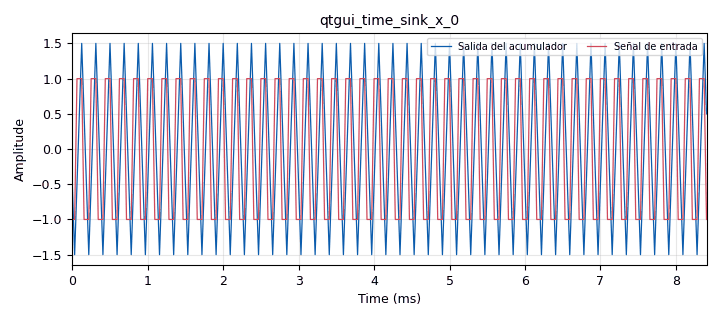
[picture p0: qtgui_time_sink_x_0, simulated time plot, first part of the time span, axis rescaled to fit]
options:
  parameters:
    generate_options: qt_gui
    id: untitled
    output_language: python
    title: Not titled yet
  states: {}

blocks:
- name: samp_rate
  id: variable
  parameters:
    value: '32000'
  states: {}
- name: blocks_vector_source_x_0
  id: blocks_vector_source_x
  parameters:
    repeat: 'True'
    type: float
    vector: (1,1,1,-1,-1,-1)
  states: {}
- name: epy_block_1
  id: epy_block
  parameters:
    _source_code: |-
      import numpy as np
      from gnuradio import gr

      class blk(gr.sync_block):
          
          def __init__(self):
              gr.sync_block.__init__(
                  self,
                  name='e_Acum',   
                  in_sig=[np.float32],
                  out_sig=[np.float32]
              )

          def work(self, input_items, output_items):
              x = input_items[0]  
              y0 = output_items[0]  
              
              y0[:] = np.cumsum(x)
              y0[:] = y0 - np.mean(y0)  # Restar la media correctamente
              
              return len(y0)
  states: {}
- name: qtgui_time_sink_x_0
  id: qtgui_time_sink_x
  parameters:
    label1: Salida del acumulador
    label2: Señal de entrada
    nconnections: '2'
    size: '1024'
    srate: samp_rate
    type: float
  states: {}

connections:
- [blocks_vector_source_x_0, '0', epy_block_1, '0']
- [blocks_vector_source_x_0, '0', qtgui_time_sink_x_0, '1']
- [epy_block_1, '0', qtgui_time_sink_x_0, '0']

metadata:
  file_format: 1
  grc_version: 3.10.10.0
